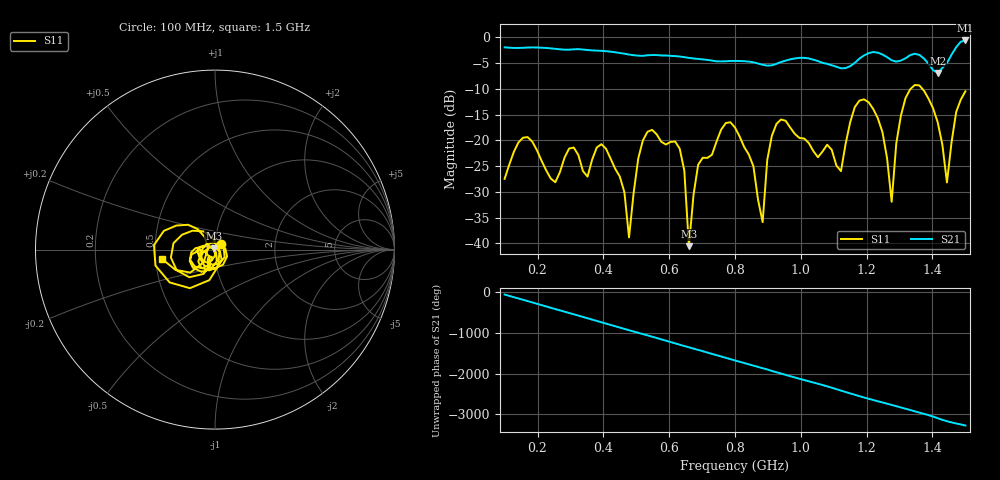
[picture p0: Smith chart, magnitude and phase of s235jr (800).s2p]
! NanoVNA-App
! Date: 2025-09-25 15:10:24
! Start: 100MHz Stop: 1,5GHz Points: 101
! S-Parameter data: F S11 S21 S12 S22
# Hz S RI R 50
!  Frequency  S11_Real  S11_Imag  S21_Real  S21_Imag  S12_Real  S12_Imag  S22_Real  S22_Imag
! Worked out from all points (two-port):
!   101 points, 100 MHz to 1.5 GHz, reference 50 ohm
!   highest |S21| = -0.63 dB at 1.5 GHz (marker M1); lowest = -6.9 dB at 1.416 GHz (marker M2)
!   |S21| within 3 dB of the highest: start of sweep to 607.1 MHz; 1.19 GHz to 1.256 GHz (65.42 MHz wide, 5.35 % of centre) (the widest 2 of 4)
!   lowest |S11| = -40.5 dB at 660 MHz (marker M3), VSWR 1.02, Z = 49.3 + j0.608 ohm
!   |S11| at or under -10 dB: start of sweep to 1.334 GHz; 1.369 GHz to end of sweep
!   S12 and S22 are empty: the file has one direction only
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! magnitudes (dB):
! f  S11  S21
! 100 MHz  -27.5  -2.0
! 170 MHz  -19.4  -2.0
! 338 MHz  -26.0  -2.4
! 408 MHz  -21.6  -2.7
! 478 MHz  -38.8  -3.4
! 520 MHz  -20.0  -3.6
! 576 MHz  -20.3  -3.5
! 632 MHz  -21.6  -3.7
! 660 MHz  -40.5  -4.0
! 688 MHz  -24.7  -4.2
! 800 MHz  -17.5  -4.6
! 884 MHz  -35.9  -5.3
! 926 MHz  -16.8  -5.2
! 1.038 GHz  -22.1  -4.4
! 1.122 GHz  -26.0  -6.0
! 1.206 GHz  -12.6  -3.1
! 1.276 GHz  -31.9  -4.5
! 1.29 GHz  -20.6  -4.7
! 1.332 GHz  -10.1  -3.5
! 1.416 GHz  -16.5  -6.9
! 1.444 GHz  -28.2  -5.0
! 1.5 GHz  -10.5  -0.6
